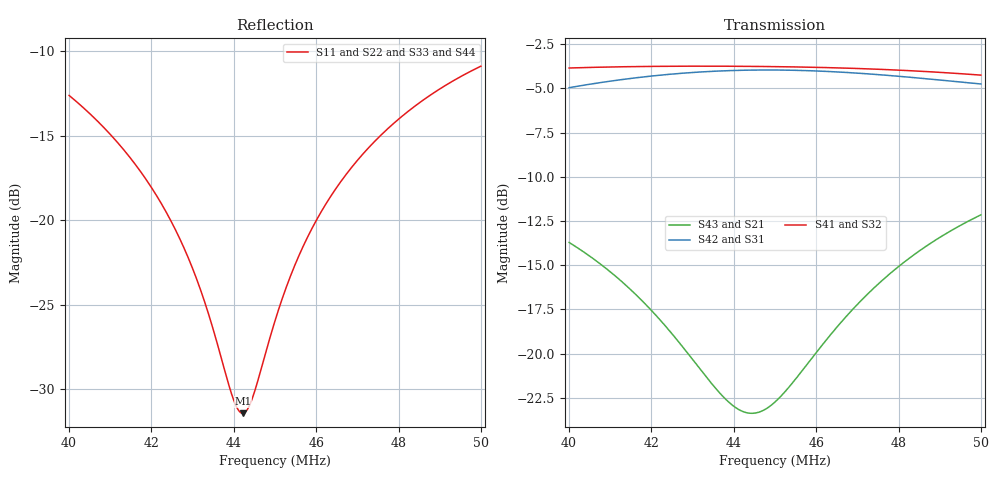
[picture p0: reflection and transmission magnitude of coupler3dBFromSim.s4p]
! TOUCHSTONE file generated by CST DESIGN STUDIO
! Date and time: Thu Jan  7 22:09:11 2021
! Project name:  Project name: C:\Users\brianedw\Downloads\qhc_v3.cst
! Tree item: Tasks\SPara2\S-Parameters
! Header version: 2018
! Port assignment regex: !\s*Touchstone port\s*([0-9]+)\s*=\s*(CST MWS port|CST DS port)\s*([0-9]+)\s*\(\"(.*)\"\)(\s*mode\s*([0-9]+))?.*
! Touchstone port assignment:
! Touchstone port 1 = CST DS port 1 ("")
! Touchstone port 2 = CST DS port 2 ("")
! Touchstone port 3 = CST DS port 3 ("")
! Touchstone port 4 = CST DS port 4 ("")
# MHz S MA R 50
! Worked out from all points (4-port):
!   1001 points, 40 MHz to 50 MHz, reference 50 ohm
!   strongest paths, dB at 40 MHz, 42.5 MHz, 45 MHz, 47.5 MHz, 50 MHz:
!     S41: -3.8, -3.7, -3.8, -3.9, -4.2
!     S32: -3.8, -3.7, -3.8, -3.9, -4.2
!     S42: -5.0, -4.2, -4.0, -4.2, -4.7
!     S31: -5.0, -4.2, -4.0, -4.2, -4.7
!     S43: -13.7, -18.9, -22.7, -16.1, -12.2
!     S21: -13.7, -18.9, -22.7, -16.1, -12.2
!   lowest |S11| = -31.4 dB at 44.22 MHz (marker M1), VSWR 1.06, Z = 47.5 - j0.632 ohm
!   |S11| at or under -10 dB: start of sweep to end of sweep
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40  0.2341 125.7  0.2063 -135.6  0.5653 -67.1  0.6426 -152.3
    0.2063 -135.6  0.2341 125.7  0.6426 -152.3  0.5653 -67.1
    0.5653 -67.1  0.6426 -152.3  0.2341 125.7  0.2063 -135.6
    0.6426 -152.3  0.5653 -67.1  0.2063 -135.6  0.2341 125.7
42.38  0.1044 125.2  0.1181 -138.9  0.6159 -79.2  0.6498 -166.8
       0.1181 -138.9  0.1044 125.2  0.6498 -166.8  0.6159 -79.2
       0.6159 -79.2  0.6498 -166.8  0.1044 125.2  0.1181 -138.9
       0.6498 -166.8  0.6159 -79.2  0.1181 -138.9  0.1044 125.2
44.22  0.02678 -165.6  0.06857 -108.1  0.6332 -89.4  0.6497 -178.3
       0.06857 -108.1  0.02678 -165.6  0.6497 -178.3  0.6332 -89.4
       0.6332 -89.4  0.6497 -178.3  0.02678 -165.6  0.06857 -108.1
       0.6497 -178.3  0.6332 -89.4  0.06857 -108.1  0.02678 -165.6
45.48  0.07343 -102.1  0.08415 -73.7  0.633 -96.3  0.6471 173.6
       0.08415 -73.7  0.07343 -102.1  0.6471 173.6  0.633 -96.3
       0.633 -96.3  0.6471 173.6  0.07343 -102.1  0.08415 -73.7
       0.6471 173.6  0.633 -96.3  0.08415 -73.7  0.07343 -102.1
46.48  0.1241 -96.9  0.1179 -63.5  0.6266 -101.6  0.6433 167.1
       0.1179 -63.5  0.1241 -96.9  0.6433 167.1  0.6266 -101.6
       0.6266 -101.6  0.6433 167.1  0.1241 -96.9  0.1179 -63.5
       0.6433 167.1  0.6266 -101.6  0.1179 -63.5  0.1241 -96.9
48.02  0.2 -97.8  0.177 -63.7  0.6086 -109.1  0.6335 156.8
       0.177 -63.7  0.2 -97.8  0.6335 156.8  0.6086 -109.1
       0.6086 -109.1  0.6335 156.8  0.2 -97.8  0.177 -63.7
       0.6335 156.8  0.6086 -109.1  0.177 -63.7  0.2 -97.8
50  0.2858 -102.7  0.2469 -72.9  0.579 -117.4  0.6135 143.4
    0.2469 -72.9  0.2858 -102.7  0.6135 143.4  0.579 -117.4
    0.579 -117.4  0.6135 143.4  0.2858 -102.7  0.2469 -72.9
    0.6135 143.4  0.579 -117.4  0.2469 -72.9  0.2858 -102.7
